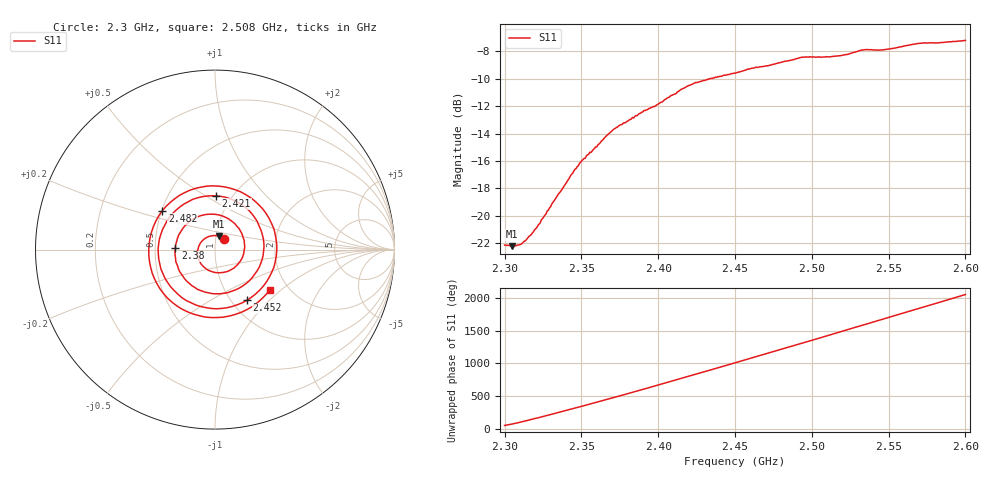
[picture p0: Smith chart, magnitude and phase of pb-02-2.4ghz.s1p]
! NanoVNA-App
! Date: 2026-05-22 17:19:06
! Start: 2.3GHz Stop: 2.6GHz Points: 401
! S-Parameter data: F S11
# Hz S RI R 50
!  Frequency  S11_Real  S11_Imag
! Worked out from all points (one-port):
!   401 points, 2.3 GHz to 2.6 GHz, reference 50 ohm
!   lowest |S11| = -22.2 dB at 2.304 GHz (marker M1), VSWR 1.17, Z = 51.9 + j7.7 ohm
!   |S11| at or under -10 dB: start of sweep to 2.434 GHz
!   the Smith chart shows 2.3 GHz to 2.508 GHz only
!   S11 on the Smith chart (normalised r, x): 2.3 GHz: 1.09, +0.14; 2.38 GHz: 0.64, +0.01; 2.421 GHz: 0.84, +0.55; 2.452 GHz: 1.18, -0.75; 2.482 GHz: 0.50, +0.25; 2.508 GHz: 1.62, -0.84
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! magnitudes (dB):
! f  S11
! 2.3 GHz  -22.1
! 2.304 GHz  -22.2
! 2.311 GHz  -22.1
! 2.317 GHz  -21.4
! 2.322 GHz  -20.7
! 2.337 GHz  -18.0
! 2.344 GHz  -16.9
! 2.35 GHz  -16.0
! 2.368 GHz  -14.0
! 2.375 GHz  -13.4
! 2.38 GHz  -13.1
! 2.389 GHz  -12.4
! 2.399 GHz  -11.9
! 2.413 GHz  -11.0
! 2.421 GHz  -10.5
! 2.433 GHz  -10.0
! 2.45 GHz  -9.6
! 2.452 GHz  -9.5
! 2.482 GHz  -8.8
! 2.487 GHz  -8.6
! 2.494 GHz  -8.4
! 2.508 GHz  -8.4
! 2.525 GHz  -8.2
! 2.533 GHz  -7.9
! 2.546 GHz  -7.9
! 2.562 GHz  -7.6
! 2.571 GHz  -7.4
! 2.6 GHz  -7.2
